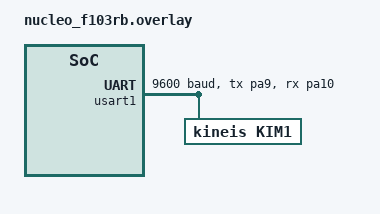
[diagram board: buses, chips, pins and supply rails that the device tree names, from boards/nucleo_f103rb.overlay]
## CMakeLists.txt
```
# Copyright (c) 2022 Kickmaker
# SPDX-License-Identifier: Apache-2.0

cmake_minimum_required(VERSION 3.20.0)
find_package(Zephyr REQUIRED HINTS $ENV{ZEPHYR_BASE})
project(espi)

FILE(GLOB app_sources src/*.c)
target_sources(app PRIVATE ${app_sources})
```

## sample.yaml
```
common:
   tags: driver satellite kineis kim1
   depends_on: satellite
sample:
   description: Demonstration of satellite Kineis KIM1 module
   name: Kineis KIM1 Sample
tests:
   sample.driver.satellite.kineis_kim1:
     harness: console
     harness_config:
      type: one_line
      regex:
        - "<inf> kim1_sample: Synchronous send OK"
```

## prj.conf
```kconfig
# Copyright (c) 2022 Kickmaker
# SPDX-License-Identifier: Apache-2.0
#
# This file contains selected Kconfig options for the application.

CONFIG_SATELLITE=y
CONFIG_SATELLITE_KIM1=y
CONFIG_LOG=y

CONFIG_SATELLITE_LOG_LEVEL_INF=y
```

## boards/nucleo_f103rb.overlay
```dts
/*
 * Copyright (c) 2022 Kickmaker
 *
 * SPDX-License-Identifier: Apache-2.0
 */

&usart1 {
	pinctrl-0 = <&usart1_tx_pa9 &usart1_rx_pa10>;
	pinctrl-names = "default";
	current-speed = <9600>;
	status = "okay";
	kim1 {
		compatible = "kineis,kim1";
		status = "okay";
	};
};

/ {
	aliases {
	   kim1-module = &usart1;
   };
};
```

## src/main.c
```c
/*
 * Copyright (c) 2022 Kickmaker
 * SPDX-License-Identifier: Apache-2.0
 */

#include <zephyr/kernel.h>
#include <zephyr/drivers/sensor.h>
#include <zephyr/drivers/satellite.h>
#include <zephyr/drivers/satellite/kim1.h>

#define LOG_LEVEL CONFIG_LOG_DEFAULT_LEVEL
#include <zephyr/logging/log.h>
LOG_MODULE_REGISTER(kim1_sample);

K_SEM_DEFINE(kim1_sem, 0, 1);

/** @brief Implement result callback for pool send final status */
static void status_returned(bool tx_status)
{
	if (tx_status) {
		LOG_INF("Finished sending pool of messages successfully");
	} else {
		LOG_ERR("An error occurred while sending pool of messages");
	}

	k_sem_give(&kim1_sem);
}

void main(void)
{
	int ret;
	struct satellite_modem_config config;
	uint8_t tx_data[] = "0123";
	const struct device *kineis_modem = DEVICE_DT_GET_ANY(kineis_kim1);

	if (kineis_modem == NULL) {
		LOG_ERR("\nError: no kim1 module found.\n");
		return;
	}

	if (!device_is_ready(kineis_modem)) {
		LOG_ERR("\nError: Device \"%s\" is not ready; "
		  "check the driver initialization logs for errors.\n",
		  kineis_modem->name);
		return;
	}

	LOG_INF("Modem ID: %s", kineis_get_modem_id());
	LOG_INF("Modem FW version: %s", kineis_get_modem_fw_version());
	LOG_INF("Modem SN: %s", kineis_get_modem_serial_number());

	/* Set TX power to 1000mW */
	config.tx_power = 1000U;

	ret = satellite_config(kineis_modem, &config);
	if (ret < 0) {
		LOG_ERR("Satellite config failed");
		return;
	}

	/* Send a message synchronously (wait for tx confirmation) */
	ret = satellite_send_sync(kineis_modem, tx_data, sizeof(tx_data) - 1);
	if (ret == 0) {
		LOG_INF("Synchronous send OK");
	} else {
		LOG_ERR("Synchronous send NOK");
	}

	while (1) {

		LOG_INF("Launch send pool of 10 messages with 60 seconds delay between them");

		/* Send a pool of message (10) with a delay of (60 seconds) between them.
		 * Once finished, status return callback will be executed with final TX status
		 */
		ret = satellite_send_pool_async(kineis_modem, tx_data, sizeof(tx_data) - 1,
					10U, K_SECONDS(60),
					(satellite_api_send_result_cb *) &status_returned);
		if (ret < 0) {
			LOG_ERR("Satellite satellite_send_pool failed");
			return;
		}

		/* Wait for send of pool message finished */
		(void) k_sem_take(&kim1_sem, K_FOREVER);
	}

}
```
